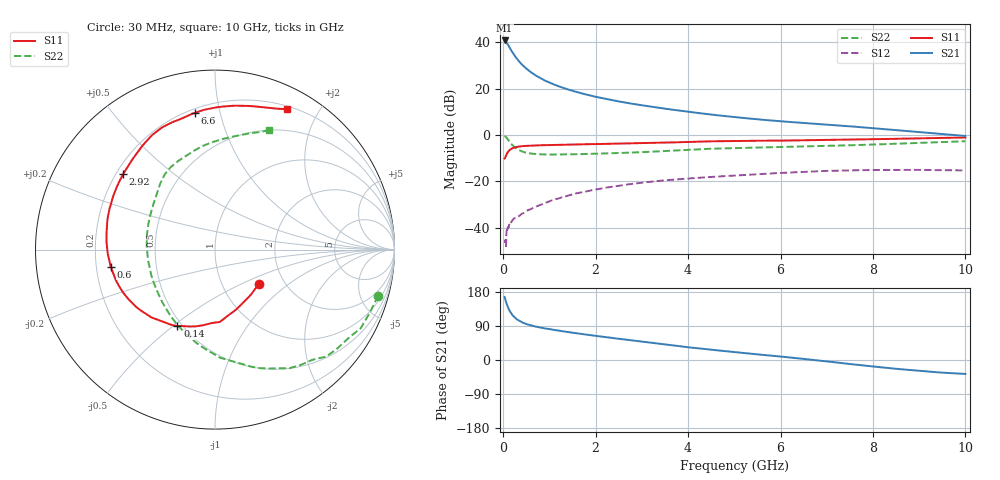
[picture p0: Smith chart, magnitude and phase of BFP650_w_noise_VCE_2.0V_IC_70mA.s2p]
! Infineon Technologies  Discrete & RF Semiconductors
! BFP650
! VCE =  2.0 V,  IC =  70 mA
! Common Emitter S-Parameters:  Jan 2016
# GHz  S  MA  R  50
!  f  S11  S21  S12  S22
! GHz  MAG  ANG  MAG  ANG  MAG  ANG  MAG  ANG
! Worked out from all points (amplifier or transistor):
!   229 points, 30 MHz to 10 GHz, reference 50 ohm
!   highest |S21| = 40.7 dB at 30 MHz (marker M1)
!   |S21| within 3 dB of that: start of sweep to 135.8 MHz
!   unconditionally stable (mu >= 1): 1.611 GHz to end of sweep
!   at 280 MHz: K = 0.56, MSG = 34.5 dB, |S12| = -35.7 dB
!   at 1.78 GHz: K = 1.01, MAG = 20.3 dB, |S12| = -24.4 dB
!   at 10 GHz: K = 1.03, MAG = 6.4 dB, |S12| = -15.3 dB
!   lowest NFmin = 1.15 dB at 450 MHz
!   S11 on the Smith chart (normalised r, x): 30 MHz: 1.48, -0.63; 140 MHz: 0.47, -0.52; 600 MHz: 0.26, -0.08; 2.92 GHz: 0.23, +0.34; 6.6 GHz: 0.22, +0.84; 10 GHz: 0.23, +1.61
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0.03  0.3099 -38.5  108.7 166.5  0.0053 97.1  0.9446 -15.8
0.04  0.3209 -51.2  107.5 161.9  0.0049 91.7  0.9315 -22.1
0.05  0.3382 -63.8  104.2 157.5  0.0055 57.6  0.9226 -28.4
0.06  0.3547 -70.8  102.4 153.8  0.004 84.3  0.8942 -33.0
0.08  0.404 -86.1  95.76 146.2  0.009 78.9  0.8588 -44.0
0.11  0.4404 -103.8  85.49 136.8  0.01 64.8  0.7808 -57.8
0.14  0.475 -116.1  75.72 129.4  0.0112 58.2  0.7084 -68.9
0.2  0.5181 -133.2  60.14 118.2  0.0146 57.0  0.6032 -87.3
0.24  0.5357 -141.0  52.43 113.1  0.0159 55.4  0.5511 -96.7
0.3  0.5545 -149.6  43.31 106.9  0.0167 55.2  0.4974 -108.9
0.4  0.5719 -159.1  33.25 99.8  0.0199 56.2  0.4437 -124.1
0.6  0.5889 -170.7  22.4 91.2  0.0253 58.0  0.3974 -144.4
0.8  0.5986 -178.2  16.79 85.6  0.0309 59.5  0.3827 -157.9
1  0.6058 176.1  13.4 81.3  0.0374 58.5  0.3775 -167.6
1.7  0.6265 161.1  7.844 68.7  0.0576 54.8  0.3856 170.2
2.92  0.662 140.7  4.476 49.7  0.0916 42.6  0.4222 145.2
3.4  0.6783 133.5  3.803 42.6  0.1028 37.3  0.4439 137.8
5.1  0.7429 112.4  2.369 19.8  0.1347 19.8  0.5238 117.0
6.6  0.7697 98.4  1.784 1.6  0.1616 5.0  0.5687 100.3
6.8  0.7752 96.4  1.728 -1.0  0.1645 2.7  0.5749 98.5
8.4  0.8212 77.1  1.294 -22.0  0.176 -15.1  0.6406 80.3
10  0.8801 62.8  0.949 -36.8  0.1716 -27.8  0.7309 65.7
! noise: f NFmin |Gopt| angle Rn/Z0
0.45  1.15  0.48  -171  0.06
0.9  1.17  0.49  -165  0.06
1.9  1.31  0.52  -151  0.08
2.4  1.4  0.5  -142  0.1
3.5  1.6  0.52  -118  0.17
